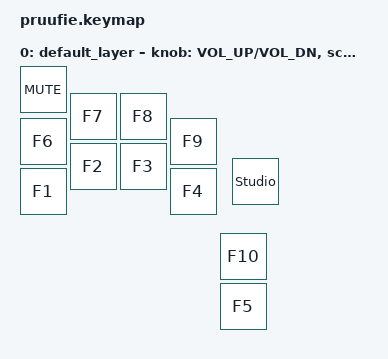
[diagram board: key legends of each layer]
#include <behaviors.dtsi>
#include <dt-bindings/zmk/keys.h>
#include <dt-bindings/zmk/outputs.h>

#define ZMK_MOUSE_SCRL_VAL 140
#include <dt-bindings/zmk/pointing.h>

/ {
    behaviors {
        scroll_up_down: scroll_up_down {
            compatible = "zmk,behavior-sensor-rotate";
            #sensor-binding-cells = <0>;
            bindings = <&msc SCRL_UP>, <&msc SCRL_DOWN>;
            tap-ms = <250>;
        };
    };

    keymap {
        compatible = "zmk,keymap";
        
        default_layer {
            bindings = <
                &kp F6     &kp F7          &kp F8    &kp F9   &kp F10
                &kp F1     &kp F2          &kp F3    &kp F4   &kp F5
                &kp C_MUTE &studio_unlock
            >;
            sensor-bindings = <&inc_dec_kp C_VOL_UP C_VOL_DN>, <&scroll_up_down>;
        };
        extra1 {
            status = "reserved";
        };

        extra2 {
            status = "reserved";
        };
    };
};
